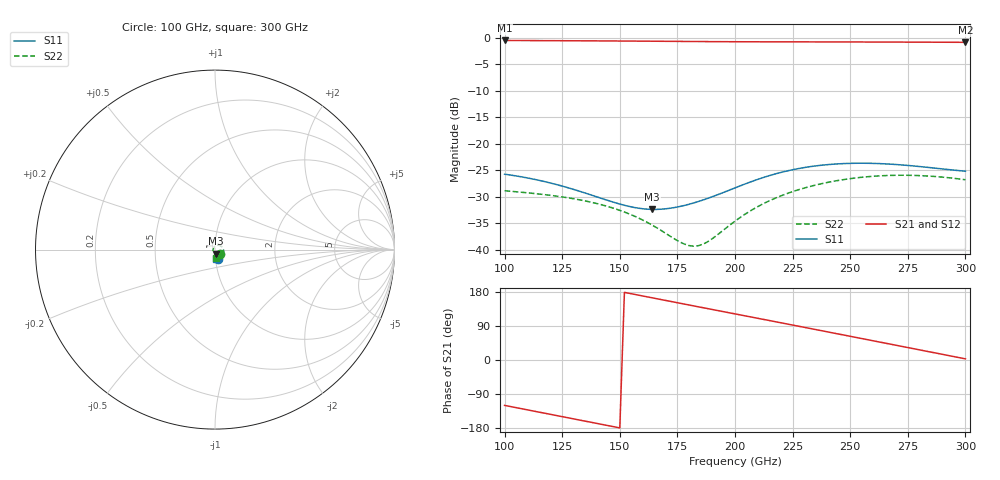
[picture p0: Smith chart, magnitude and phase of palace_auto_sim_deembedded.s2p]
! Created with skrf 1.11.0 (http://scikit-rf.org).
# GHz S DB R 50.0
!freq dBS11 angS11 dBS21 angS21 dBS12 angS12 dBS22 angS22
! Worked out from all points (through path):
!   101 points, 100 GHz to 300 GHz, reference 50 ohm
!   highest |S21| = -0.52 dB at 100 GHz (marker M1); lowest = -0.9 dB at 300 GHz (marker M2)
!   group delay of S21, straight-line fit = 3.29 ps
!   lowest |S11| = -32.4 dB at 164 GHz (marker M3), VSWR 1.05, Z = 50.6 - j2.35 ohm
!   |S11| at or under -10 dB: start of sweep to end of sweep
!   |S22| runs from -39.3 to -25.9 dB; largest |S21 - S12| = 1.1e-14
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100  -25.74 -74.2  -0.52 -119.8  -0.52 -119.8  -28.86 -43.0
108  -26.29 -80.4  -0.53 -129.3  -0.53 -129.3  -29.17 -47.8
118  -27.20 -86.9  -0.55 -141.2  -0.55 -141.2  -29.63 -54.6
134  -29.16 -92.5  -0.59 -160.2  -0.59 -160.2  -30.69 -68.5
148  -31.12 -89.3  -0.62 -176.8  -0.62 -176.8  -32.26 -85.1
156  -31.99 -83.0  -0.64 173.7  -0.64 173.7  -33.58 -97.7
164  -32.38 -74.3  -0.66 164.2  -0.66 164.2  -35.33 -114.3
168  -32.34 -69.7  -0.67 159.4  -0.67 159.4  -36.37 -125.1
178  -31.64 -59.1  -0.70 147.6  -0.70 147.6  -38.91 -164.8
184  -30.90 -54.1  -0.72 140.5  -0.72 140.5  -39.23 161.9
190  -30.01 -50.4  -0.74 133.4  -0.74 133.4  -37.94 130.0
200  -28.32 -47.7  -0.76 121.7  -0.76 121.7  -34.60 92.1
208  -27.00 -48.7  -0.77 112.3  -0.77 112.3  -32.31 71.4
218  -25.63 -52.8  -0.78 100.5  -0.78 100.5  -30.16 51.1
226  -24.81 -57.4  -0.78 91.0  -0.78 91.0  -28.88 37.1
234  -24.23 -62.4  -0.79 81.6  -0.79 81.6  -27.89 24.2
250  -23.70 -72.3  -0.80 62.6  -0.80 62.6  -26.58 -0.5
258  -23.68 -76.7  -0.81 53.1  -0.81 53.1  -26.20 -12.9
268  -23.86 -81.3  -0.82 41.2  -0.82 41.2  -25.96 -28.7
284  -24.47 -85.8  -0.84 22.1  -0.84 22.1  -26.09 -55.6
292  -24.84 -86.4  -0.85 12.6  -0.85 12.6  -26.37 -70.1
300  -25.17 -85.8  -0.87 3.0  -0.87 3.0  -26.78 -85.8
